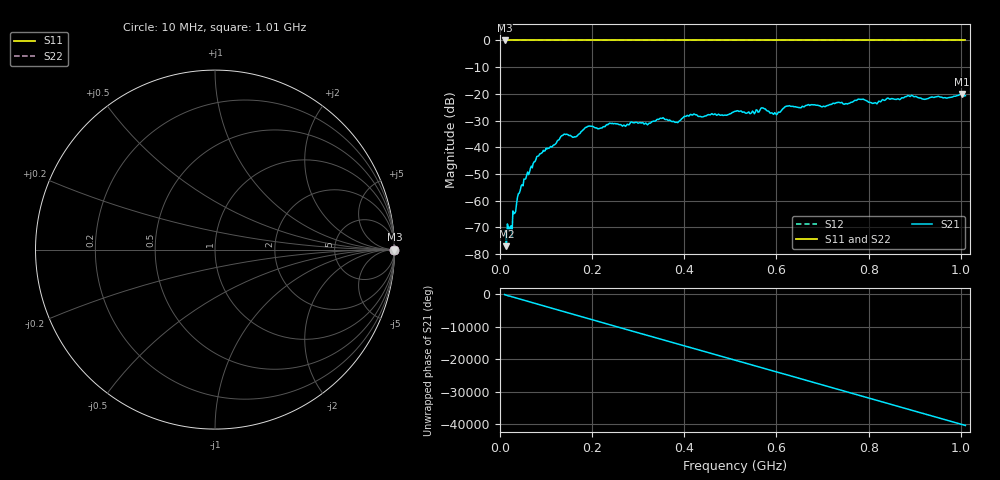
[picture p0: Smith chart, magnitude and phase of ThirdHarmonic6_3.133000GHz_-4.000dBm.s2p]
! 8/17/2025 9:19:48 AM
! C:\ANRITSUVNA\TEMP\TEMP.S2P
! CHANNEL.1
! TR.MEASUREMENT
! RAW.DATA
! RF.CORRECTION.OFF
! AVERAGING.OFF
! IF.BANDWIDTH: 5KHZ
! SWEEPTYPE:  FREQ.SWEEP(Linear)
! Reference Plane Port Info
! PORT:  PORT1  PORT2
! DISTANCE:  0  m  0  m
! TIME:  0  s  0  s
! PHASE.OFFSET:  0  deg.  0  deg.
! LOSS:  0  dB  0  dB
! REF.LOSS:  0  dB  0  dB
! REF.FREQ:  0  Hz  0  Hz
! Power Info
! POWER:  -20  dBm  -20  dBm
! EFF.POWER:  -20  dBm  -20  dBm
! SOURCE.ATTEN:  0  dB  0  dB
! TEST.ATTEN:  0  dB  0  dB
# GHZ S RI R 50.0
! FREQ.GHZ  S11RE  S11IM  S21RE  S21IM  S12RE  S12IM  S22RE  S22IM
!; PortSelection: Port_12
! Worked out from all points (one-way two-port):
!   501 points, 10 MHz to 1.01 GHz, reference 50 ohm
!   highest |S21| = -20.04 dB at 1.002 GHz (marker M1); lowest = -77.1 dB at 14 MHz (marker M2)
!   lowest |S11| = 0.0 dB at 10 MHz (marker M3)
!   |S11| at or under -10 dB: nowhere
!   |S22| runs from 0.0 to 0.0 dB; largest |S21 - S12| = 1.1
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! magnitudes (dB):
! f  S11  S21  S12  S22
! 10 MHz  0.0  -71.4  0.0  0.0
! 14 MHz  0.0  -77.1  0.0  0.0
! 22 MHz  0.0  -69.8  0.0  0.0
! 44 MHz  0.0  -56.1  0.0  0.0
! 82 MHz  0.0  -43.4  0.0  0.0
! 136 MHz  0.0  -35.6  0.0  0.0
! 162 MHz  0.0  -36.1  0.0  0.0
! 178 MHz  0.0  -33.9  0.0  0.0
! 194 MHz  0.0  -32.1  0.0  0.0
! 322 MHz  0.0  -31.3  0.0  0.0
! 344 MHz  0.0  -29.6  0.0  0.0
! 384 MHz  0.0  -30.7  0.0  0.0
! 418 MHz  0.0  -27.9  0.0  0.0
! 510 MHz  0.0  -26.6  0.0  0.0
! 570 MHz  0.0  -25.3  0.0  0.0
! 598 MHz  0.0  -27.3  0.0  0.0
! 624 MHz  0.0  -24.6  0.0  0.0
! 678 MHz  0.0  -24.1  0.0  0.0
! 814 MHz  0.0  -23.3  0.0  0.0
! 844 MHz  0.0  -21.8  0.0  0.0
! 1.002 GHz  0.0  -20.0  0.0  0.0
! 1.01 GHz  0.0  -20.7  0.0  0.0
